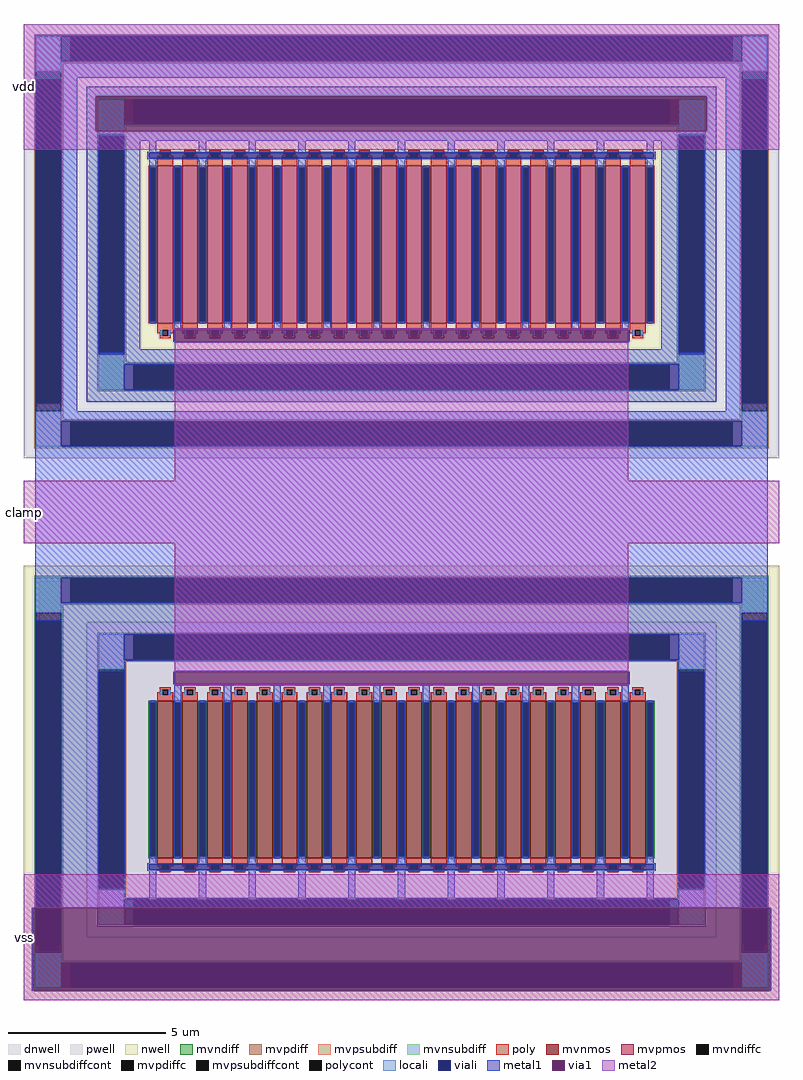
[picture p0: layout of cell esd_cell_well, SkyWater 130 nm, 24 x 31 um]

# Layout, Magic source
magic
tech sky130A
magscale 1 2
<< dnwell >>
rect -2300 -3300 2300 -740
<< nwell >>
rect -2000 400 2000 2400
rect -2400 -1000 2400 -640
rect -2400 -3000 -2000 -1000
rect 2000 -3000 2400 -1000
rect -2400 -3400 2400 -3000
<< pwell >>
rect -2400 2400 2400 2800
rect -2400 400 -2000 2400
rect 2000 400 2400 2400
rect -2400 40 2400 400
rect -2000 -3000 2000 -1000
<< mvnmos >>
rect -1551 -2500 -1451 -1500
rect -1393 -2500 -1293 -1500
rect -1235 -2500 -1135 -1500
rect -1077 -2500 -977 -1500
rect -919 -2500 -819 -1500
rect -761 -2500 -661 -1500
rect -603 -2500 -503 -1500
rect -445 -2500 -345 -1500
rect -287 -2500 -187 -1500
rect -129 -2500 -29 -1500
rect 29 -2500 129 -1500
rect 187 -2500 287 -1500
rect 345 -2500 445 -1500
rect 503 -2500 603 -1500
rect 661 -2500 761 -1500
rect 819 -2500 919 -1500
rect 977 -2500 1077 -1500
rect 1135 -2500 1235 -1500
rect 1293 -2500 1393 -1500
rect 1451 -2500 1551 -1500
<< mvpmos >>
rect -1551 900 -1451 1900
rect -1393 900 -1293 1900
rect -1235 900 -1135 1900
rect -1077 900 -977 1900
rect -919 900 -819 1900
rect -761 900 -661 1900
rect -603 900 -503 1900
rect -445 900 -345 1900
rect -287 900 -187 1900
rect -129 900 -29 1900
rect 29 900 129 1900
rect 187 900 287 1900
rect 345 900 445 1900
rect 503 900 603 1900
rect 661 900 761 1900
rect 819 900 919 1900
rect 977 900 1077 1900
rect 1135 900 1235 1900
rect 1293 900 1393 1900
rect 1451 900 1551 1900
<< mvndiff >>
rect -1609 -1512 -1551 -1500
rect -1609 -2488 -1597 -1512
rect -1563 -2488 -1551 -1512
rect -1609 -2500 -1551 -2488
rect -1451 -1512 -1393 -1500
rect -1451 -2488 -1439 -1512
rect -1405 -2488 -1393 -1512
rect -1451 -2500 -1393 -2488
rect -1293 -1512 -1235 -1500
rect -1293 -2488 -1281 -1512
rect -1247 -2488 -1235 -1512
rect -1293 -2500 -1235 -2488
rect -1135 -1512 -1077 -1500
rect -1135 -2488 -1123 -1512
rect -1089 -2488 -1077 -1512
rect -1135 -2500 -1077 -2488
rect -977 -1512 -919 -1500
rect -977 -2488 -965 -1512
rect -931 -2488 -919 -1512
rect -977 -2500 -919 -2488
rect -819 -1512 -761 -1500
rect -819 -2488 -807 -1512
rect -773 -2488 -761 -1512
rect -819 -2500 -761 -2488
rect -661 -1512 -603 -1500
rect -661 -2488 -649 -1512
rect -615 -2488 -603 -1512
rect -661 -2500 -603 -2488
rect -503 -1512 -445 -1500
rect -503 -2488 -491 -1512
rect -457 -2488 -445 -1512
rect -503 -2500 -445 -2488
rect -345 -1512 -287 -1500
rect -345 -2488 -333 -1512
rect -299 -2488 -287 -1512
rect -345 -2500 -287 -2488
rect -187 -1512 -129 -1500
rect -187 -2488 -175 -1512
rect -141 -2488 -129 -1512
rect -187 -2500 -129 -2488
rect -29 -1512 29 -1500
rect -29 -2488 -17 -1512
rect 17 -2488 29 -1512
rect -29 -2500 29 -2488
rect 129 -1512 187 -1500
rect 129 -2488 141 -1512
rect 175 -2488 187 -1512
rect 129 -2500 187 -2488
rect 287 -1512 345 -1500
rect 287 -2488 299 -1512
rect 333 -2488 345 -1512
rect 287 -2500 345 -2488
rect 445 -1512 503 -1500
rect 445 -2488 457 -1512
rect 491 -2488 503 -1512
rect 445 -2500 503 -2488
rect 603 -1512 661 -1500
rect 603 -2488 615 -1512
rect 649 -2488 661 -1512
rect 603 -2500 661 -2488
rect 761 -1512 819 -1500
rect 761 -2488 773 -1512
rect 807 -2488 819 -1512
rect 761 -2500 819 -2488
rect 919 -1512 977 -1500
rect 919 -2488 931 -1512
rect 965 -2488 977 -1512
rect 919 -2500 977 -2488
rect 1077 -1512 1135 -1500
rect 1077 -2488 1089 -1512
rect 1123 -2488 1135 -1512
rect 1077 -2500 1135 -2488
rect 1235 -1512 1293 -1500
rect 1235 -2488 1247 -1512
rect 1281 -2488 1293 -1512
rect 1235 -2500 1293 -2488
rect 1393 -1512 1451 -1500
rect 1393 -2488 1405 -1512
rect 1439 -2488 1451 -1512
rect 1393 -2500 1451 -2488
rect 1551 -1512 1609 -1500
rect 1551 -2488 1563 -1512
rect 1597 -2488 1609 -1512
rect 1551 -2500 1609 -2488
<< mvpdiff >>
rect -1609 1888 -1551 1900
rect -1609 912 -1597 1888
rect -1563 912 -1551 1888
rect -1609 900 -1551 912
rect -1451 1888 -1393 1900
rect -1451 912 -1439 1888
rect -1405 912 -1393 1888
rect -1451 900 -1393 912
rect -1293 1888 -1235 1900
rect -1293 912 -1281 1888
rect -1247 912 -1235 1888
rect -1293 900 -1235 912
rect -1135 1888 -1077 1900
rect -1135 912 -1123 1888
rect -1089 912 -1077 1888
rect -1135 900 -1077 912
rect -977 1888 -919 1900
rect -977 912 -965 1888
rect -931 912 -919 1888
rect -977 900 -919 912
rect -819 1888 -761 1900
rect -819 912 -807 1888
rect -773 912 -761 1888
rect -819 900 -761 912
rect -661 1888 -603 1900
rect -661 912 -649 1888
rect -615 912 -603 1888
rect -661 900 -603 912
rect -503 1888 -445 1900
rect -503 912 -491 1888
rect -457 912 -445 1888
rect -503 900 -445 912
rect -345 1888 -287 1900
rect -345 912 -333 1888
rect -299 912 -287 1888
rect -345 900 -287 912
rect -187 1888 -129 1900
rect -187 912 -175 1888
rect -141 912 -129 1888
rect -187 900 -129 912
rect -29 1888 29 1900
rect -29 912 -17 1888
rect 17 912 29 1888
rect -29 900 29 912
rect 129 1888 187 1900
rect 129 912 141 1888
rect 175 912 187 1888
rect 129 900 187 912
rect 287 1888 345 1900
rect 287 912 299 1888
rect 333 912 345 1888
rect 287 900 345 912
rect 445 1888 503 1900
rect 445 912 457 1888
rect 491 912 503 1888
rect 445 900 503 912
rect 603 1888 661 1900
rect 603 912 615 1888
rect 649 912 661 1888
rect 603 900 661 912
rect 761 1888 819 1900
rect 761 912 773 1888
rect 807 912 819 1888
rect 761 900 819 912
rect 919 1888 977 1900
rect 919 912 931 1888
rect 965 912 977 1888
rect 919 900 977 912
rect 1077 1888 1135 1900
rect 1077 912 1089 1888
rect 1123 912 1135 1888
rect 1077 900 1135 912
rect 1235 1888 1293 1900
rect 1235 912 1247 1888
rect 1281 912 1293 1888
rect 1235 900 1293 912
rect 1393 1888 1451 1900
rect 1393 912 1405 1888
rect 1439 912 1451 1888
rect 1393 900 1451 912
rect 1551 1888 1609 1900
rect 1551 912 1563 1888
rect 1597 912 1609 1888
rect 1551 900 1609 912
<< mvndiffc >>
rect -1597 -2488 -1563 -1512
rect -1439 -2488 -1405 -1512
rect -1281 -2488 -1247 -1512
rect -1123 -2488 -1089 -1512
rect -965 -2488 -931 -1512
rect -807 -2488 -773 -1512
rect -649 -2488 -615 -1512
rect -491 -2488 -457 -1512
rect -333 -2488 -299 -1512
rect -175 -2488 -141 -1512
rect -17 -2488 17 -1512
rect 141 -2488 175 -1512
rect 299 -2488 333 -1512
rect 457 -2488 491 -1512
rect 615 -2488 649 -1512
rect 773 -2488 807 -1512
rect 931 -2488 965 -1512
rect 1089 -2488 1123 -1512
rect 1247 -2488 1281 -1512
rect 1405 -2488 1439 -1512
rect 1563 -2488 1597 -1512
<< mvpdiffc >>
rect -1597 912 -1563 1888
rect -1439 912 -1405 1888
rect -1281 912 -1247 1888
rect -1123 912 -1089 1888
rect -965 912 -931 1888
rect -807 912 -773 1888
rect -649 912 -615 1888
rect -491 912 -457 1888
rect -333 912 -299 1888
rect -175 912 -141 1888
rect -17 912 17 1888
rect 141 912 175 1888
rect 299 912 333 1888
rect 457 912 491 1888
rect 615 912 649 1888
rect 773 912 807 1888
rect 931 912 965 1888
rect 1089 912 1123 1888
rect 1247 912 1281 1888
rect 1405 912 1439 1888
rect 1563 912 1597 1888
<< mvpsubdiff >>
rect -2334 2722 2334 2734
rect -2334 2562 -2100 2722
rect 2100 2562 2334 2722
rect -2334 2550 2334 2562
rect -2334 2500 -2150 2550
rect -2334 340 -2322 2500
rect -2162 340 -2150 2500
rect 2150 2500 2334 2550
rect -2334 290 -2150 340
rect 2150 340 2162 2500
rect 2322 340 2334 2500
rect 2150 290 2334 340
rect -2334 278 2334 290
rect -2334 118 -2100 278
rect 2100 118 2334 278
rect -2334 106 2334 118
rect -1934 -1078 1934 -1066
rect -1934 -1238 -1700 -1078
rect 1700 -1238 1934 -1078
rect -1934 -1250 1934 -1238
rect -1934 -1300 -1750 -1250
rect -1934 -2700 -1922 -1300
rect -1762 -2700 -1750 -1300
rect 1750 -1300 1934 -1250
rect -1934 -2750 -1750 -2700
rect 1750 -2700 1762 -1300
rect 1922 -2700 1934 -1300
rect 1750 -2750 1934 -2700
rect -1934 -2762 1934 -2750
rect -1934 -2922 -1700 -2762
rect 1700 -2922 1934 -2762
rect -1934 -2934 1934 -2922
<< mvnsubdiff >>
rect -1934 2322 1934 2334
rect -1934 2162 -1700 2322
rect 1700 2162 1934 2322
rect -1934 2150 1934 2162
rect -1934 2100 -1750 2150
rect -1934 700 -1922 2100
rect -1762 700 -1750 2100
rect 1750 2100 1934 2150
rect -1934 650 -1750 700
rect 1750 700 1762 2100
rect 1922 700 1934 2100
rect 1750 650 1934 700
rect -1934 638 1934 650
rect -1934 478 -1700 638
rect 1700 478 1934 638
rect -1934 466 1934 478
rect -2334 -718 2334 -706
rect -2334 -878 -2100 -718
rect 2100 -878 2334 -718
rect -2334 -890 2334 -878
rect -2334 -940 -2150 -890
rect -2334 -3100 -2322 -940
rect -2162 -3100 -2150 -940
rect 2150 -940 2334 -890
rect -2334 -3150 -2150 -3100
rect 2150 -3100 2162 -940
rect 2322 -3100 2334 -940
rect 2150 -3150 2334 -3100
rect -2334 -3162 2334 -3150
rect -2334 -3322 -2100 -3162
rect 2100 -3322 2334 -3162
rect -2334 -3334 2334 -3322
<< mvpsubdiffcont >>
rect -2100 2562 2100 2722
rect -2322 340 -2162 2500
rect 2162 340 2322 2500
rect -2100 118 2100 278
rect -1700 -1238 1700 -1078
rect -1922 -2700 -1762 -1300
rect 1762 -2700 1922 -1300
rect -1700 -2922 1700 -2762
<< mvnsubdiffcont >>
rect -1700 2162 1700 2322
rect -1922 700 -1762 2100
rect 1762 700 1922 2100
rect -1700 478 1700 638
rect -2100 -878 2100 -718
rect -2322 -3100 -2162 -940
rect 2162 -3100 2322 -940
rect -2100 -3322 2100 -3162
<< poly >>
rect -1537 1981 -1465 1997
rect -1537 1964 -1521 1981
rect -1551 1947 -1521 1964
rect -1481 1964 -1465 1981
rect -1379 1981 -1307 1997
rect -1379 1964 -1363 1981
rect -1481 1947 -1451 1964
rect -1551 1900 -1451 1947
rect -1393 1947 -1363 1964
rect -1323 1964 -1307 1981
rect -1221 1981 -1149 1997
rect -1221 1964 -1205 1981
rect -1323 1947 -1293 1964
rect -1393 1900 -1293 1947
rect -1235 1947 -1205 1964
rect -1165 1964 -1149 1981
rect -1063 1981 -991 1997
rect -1063 1964 -1047 1981
rect -1165 1947 -1135 1964
rect -1235 1900 -1135 1947
rect -1077 1947 -1047 1964
rect -1007 1964 -991 1981
rect -905 1981 -833 1997
rect -905 1964 -889 1981
rect -1007 1947 -977 1964
rect -1077 1900 -977 1947
rect -919 1947 -889 1964
rect -849 1964 -833 1981
rect -747 1981 -675 1997
rect -747 1964 -731 1981
rect -849 1947 -819 1964
rect -919 1900 -819 1947
rect -761 1947 -731 1964
rect -691 1964 -675 1981
rect -589 1981 -517 1997
rect -589 1964 -573 1981
rect -691 1947 -661 1964
rect -761 1900 -661 1947
rect -603 1947 -573 1964
rect -533 1964 -517 1981
rect -431 1981 -359 1997
rect -431 1964 -415 1981
rect -533 1947 -503 1964
rect -603 1900 -503 1947
rect -445 1947 -415 1964
rect -375 1964 -359 1981
rect -273 1981 -201 1997
rect -273 1964 -257 1981
rect -375 1947 -345 1964
rect -445 1900 -345 1947
rect -287 1947 -257 1964
rect -217 1964 -201 1981
rect -115 1981 -43 1997
rect -115 1964 -99 1981
rect -217 1947 -187 1964
rect -287 1900 -187 1947
rect -129 1947 -99 1964
rect -59 1964 -43 1981
rect 43 1981 115 1997
rect 43 1964 59 1981
rect -59 1947 -29 1964
rect -129 1900 -29 1947
rect 29 1947 59 1964
rect 99 1964 115 1981
rect 201 1981 273 1997
rect 201 1964 217 1981
rect 99 1947 129 1964
rect 29 1900 129 1947
rect 187 1947 217 1964
rect 257 1964 273 1981
rect 359 1981 431 1997
rect 359 1964 375 1981
rect 257 1947 287 1964
rect 187 1900 287 1947
rect 345 1947 375 1964
rect 415 1964 431 1981
rect 517 1981 589 1997
rect 517 1964 533 1981
rect 415 1947 445 1964
rect 345 1900 445 1947
rect 503 1947 533 1964
rect 573 1964 589 1981
rect 675 1981 747 1997
rect 675 1964 691 1981
rect 573 1947 603 1964
rect 503 1900 603 1947
rect 661 1947 691 1964
rect 731 1964 747 1981
rect 833 1981 905 1997
rect 833 1964 849 1981
rect 731 1947 761 1964
rect 661 1900 761 1947
rect 819 1947 849 1964
rect 889 1964 905 1981
rect 991 1981 1063 1997
rect 991 1964 1007 1981
rect 889 1947 919 1964
rect 819 1900 919 1947
rect 977 1947 1007 1964
rect 1047 1964 1063 1981
rect 1149 1981 1221 1997
rect 1149 1964 1165 1981
rect 1047 1947 1077 1964
rect 977 1900 1077 1947
rect 1135 1947 1165 1964
rect 1205 1964 1221 1981
rect 1307 1981 1379 1997
rect 1307 1964 1323 1981
rect 1205 1947 1235 1964
rect 1135 1900 1235 1947
rect 1293 1947 1323 1964
rect 1363 1964 1379 1981
rect 1465 1981 1537 1997
rect 1465 1964 1481 1981
rect 1363 1947 1393 1964
rect 1293 1900 1393 1947
rect 1451 1947 1481 1964
rect 1521 1964 1537 1981
rect 1521 1947 1551 1964
rect 1451 1900 1551 1947
rect -1551 853 -1451 900
rect -1551 836 -1521 853
rect -1537 819 -1521 836
rect -1481 836 -1451 853
rect -1393 853 -1293 900
rect -1393 836 -1363 853
rect -1481 819 -1465 836
rect -1537 803 -1465 819
rect -1379 819 -1363 836
rect -1323 836 -1293 853
rect -1235 853 -1135 900
rect -1235 836 -1205 853
rect -1323 819 -1307 836
rect -1379 803 -1307 819
rect -1221 819 -1205 836
rect -1165 836 -1135 853
rect -1077 853 -977 900
rect -1077 836 -1047 853
rect -1165 819 -1149 836
rect -1221 803 -1149 819
rect -1063 819 -1047 836
rect -1007 836 -977 853
rect -919 853 -819 900
rect -919 836 -889 853
rect -1007 819 -991 836
rect -1063 803 -991 819
rect -905 819 -889 836
rect -849 836 -819 853
rect -761 853 -661 900
rect -761 836 -731 853
rect -849 819 -833 836
rect -905 803 -833 819
rect -747 819 -731 836
rect -691 836 -661 853
rect -603 853 -503 900
rect -603 836 -573 853
rect -691 819 -675 836
rect -747 803 -675 819
rect -589 819 -573 836
rect -533 836 -503 853
rect -445 853 -345 900
rect -445 836 -415 853
rect -533 819 -517 836
rect -589 803 -517 819
rect -431 819 -415 836
rect -375 836 -345 853
rect -287 853 -187 900
rect -287 836 -257 853
rect -375 819 -359 836
rect -431 803 -359 819
rect -273 819 -257 836
rect -217 836 -187 853
rect -129 853 -29 900
rect -129 836 -99 853
rect -217 819 -201 836
rect -273 803 -201 819
rect -115 819 -99 836
rect -59 836 -29 853
rect 29 853 129 900
rect 29 836 59 853
rect -59 819 -43 836
rect -115 803 -43 819
rect 43 819 59 836
rect 99 836 129 853
rect 187 853 287 900
rect 187 836 217 853
rect 99 819 115 836
rect 43 803 115 819
rect 201 819 217 836
rect 257 836 287 853
rect 345 853 445 900
rect 345 836 375 853
rect 257 819 273 836
rect 201 803 273 819
rect 359 819 375 836
rect 415 836 445 853
rect 503 853 603 900
rect 503 836 533 853
rect 415 819 431 836
rect 359 803 431 819
rect 517 819 533 836
rect 573 836 603 853
rect 661 853 761 900
rect 661 836 691 853
rect 573 819 589 836
rect 517 803 589 819
rect 675 819 691 836
rect 731 836 761 853
rect 819 853 919 900
rect 819 836 849 853
rect 731 819 747 836
rect 675 803 747 819
rect 833 819 849 836
rect 889 836 919 853
rect 977 853 1077 900
rect 977 836 1007 853
rect 889 819 905 836
rect 833 803 905 819
rect 991 819 1007 836
rect 1047 836 1077 853
rect 1135 853 1235 900
rect 1135 836 1165 853
rect 1047 819 1063 836
rect 991 803 1063 819
rect 1149 819 1165 836
rect 1205 836 1235 853
rect 1293 853 1393 900
rect 1293 836 1323 853
rect 1205 819 1221 836
rect 1149 803 1221 819
rect 1307 819 1323 836
rect 1363 836 1393 853
rect 1451 853 1551 900
rect 1451 836 1481 853
rect 1363 819 1379 836
rect 1307 803 1379 819
rect 1465 819 1481 836
rect 1521 836 1551 853
rect 1521 819 1537 836
rect 1465 803 1537 819
rect -1537 -1428 -1465 -1412
rect -1537 -1445 -1521 -1428
rect -1551 -1462 -1521 -1445
rect -1481 -1445 -1465 -1428
rect -1379 -1428 -1307 -1412
rect -1379 -1445 -1363 -1428
rect -1481 -1462 -1451 -1445
rect -1551 -1500 -1451 -1462
rect -1393 -1462 -1363 -1445
rect -1323 -1445 -1307 -1428
rect -1221 -1428 -1149 -1412
rect -1221 -1445 -1205 -1428
rect -1323 -1462 -1293 -1445
rect -1393 -1500 -1293 -1462
rect -1235 -1462 -1205 -1445
rect -1165 -1445 -1149 -1428
rect -1063 -1428 -991 -1412
rect -1063 -1445 -1047 -1428
rect -1165 -1462 -1135 -1445
rect -1235 -1500 -1135 -1462
rect -1077 -1462 -1047 -1445
rect -1007 -1445 -991 -1428
rect -905 -1428 -833 -1412
rect -905 -1445 -889 -1428
rect -1007 -1462 -977 -1445
rect -1077 -1500 -977 -1462
rect -919 -1462 -889 -1445
rect -849 -1445 -833 -1428
rect -747 -1428 -675 -1412
rect -747 -1445 -731 -1428
rect -849 -1462 -819 -1445
rect -919 -1500 -819 -1462
rect -761 -1462 -731 -1445
rect -691 -1445 -675 -1428
rect -589 -1428 -517 -1412
rect -589 -1445 -573 -1428
rect -691 -1462 -661 -1445
rect -761 -1500 -661 -1462
rect -603 -1462 -573 -1445
rect -533 -1445 -517 -1428
rect -431 -1428 -359 -1412
rect -431 -1445 -415 -1428
rect -533 -1462 -503 -1445
rect -603 -1500 -503 -1462
rect -445 -1462 -415 -1445
rect -375 -1445 -359 -1428
rect -273 -1428 -201 -1412
rect -273 -1445 -257 -1428
rect -375 -1462 -345 -1445
rect -445 -1500 -345 -1462
rect -287 -1462 -257 -1445
rect -217 -1445 -201 -1428
rect -115 -1428 -43 -1412
rect -115 -1445 -99 -1428
rect -217 -1462 -187 -1445
rect -287 -1500 -187 -1462
rect -129 -1462 -99 -1445
rect -59 -1445 -43 -1428
rect 43 -1428 115 -1412
rect 43 -1445 59 -1428
rect -59 -1462 -29 -1445
rect -129 -1500 -29 -1462
rect 29 -1462 59 -1445
rect 99 -1445 115 -1428
rect 201 -1428 273 -1412
rect 201 -1445 217 -1428
rect 99 -1462 129 -1445
rect 29 -1500 129 -1462
rect 187 -1462 217 -1445
rect 257 -1445 273 -1428
rect 359 -1428 431 -1412
rect 359 -1445 375 -1428
rect 257 -1462 287 -1445
rect 187 -1500 287 -1462
rect 345 -1462 375 -1445
rect 415 -1445 431 -1428
rect 517 -1428 589 -1412
rect 517 -1445 533 -1428
rect 415 -1462 445 -1445
rect 345 -1500 445 -1462
rect 503 -1462 533 -1445
rect 573 -1445 589 -1428
rect 675 -1428 747 -1412
rect 675 -1445 691 -1428
rect 573 -1462 603 -1445
rect 503 -1500 603 -1462
rect 661 -1462 691 -1445
rect 731 -1445 747 -1428
rect 833 -1428 905 -1412
rect 833 -1445 849 -1428
rect 731 -1462 761 -1445
rect 661 -1500 761 -1462
rect 819 -1462 849 -1445
rect 889 -1445 905 -1428
rect 991 -1428 1063 -1412
rect 991 -1445 1007 -1428
rect 889 -1462 919 -1445
rect 819 -1500 919 -1462
rect 977 -1462 1007 -1445
rect 1047 -1445 1063 -1428
rect 1149 -1428 1221 -1412
rect 1149 -1445 1165 -1428
rect 1047 -1462 1077 -1445
rect 977 -1500 1077 -1462
rect 1135 -1462 1165 -1445
rect 1205 -1445 1221 -1428
rect 1307 -1428 1379 -1412
rect 1307 -1445 1323 -1428
rect 1205 -1462 1235 -1445
rect 1135 -1500 1235 -1462
rect 1293 -1462 1323 -1445
rect 1363 -1445 1379 -1428
rect 1465 -1428 1537 -1412
rect 1465 -1445 1481 -1428
rect 1363 -1462 1393 -1445
rect 1293 -1500 1393 -1462
rect 1451 -1462 1481 -1445
rect 1521 -1445 1537 -1428
rect 1521 -1462 1551 -1445
rect 1451 -1500 1551 -1462
rect -1551 -2538 -1451 -2500
rect -1551 -2555 -1521 -2538
rect -1537 -2572 -1521 -2555
rect -1481 -2555 -1451 -2538
rect -1393 -2538 -1293 -2500
rect -1393 -2555 -1363 -2538
rect -1481 -2572 -1465 -2555
rect -1537 -2588 -1465 -2572
rect -1379 -2572 -1363 -2555
rect -1323 -2555 -1293 -2538
rect -1235 -2538 -1135 -2500
rect -1235 -2555 -1205 -2538
rect -1323 -2572 -1307 -2555
rect -1379 -2588 -1307 -2572
rect -1221 -2572 -1205 -2555
rect -1165 -2555 -1135 -2538
rect -1077 -2538 -977 -2500
rect -1077 -2555 -1047 -2538
rect -1165 -2572 -1149 -2555
rect -1221 -2588 -1149 -2572
rect -1063 -2572 -1047 -2555
rect -1007 -2555 -977 -2538
rect -919 -2538 -819 -2500
rect -919 -2555 -889 -2538
rect -1007 -2572 -991 -2555
rect -1063 -2588 -991 -2572
rect -905 -2572 -889 -2555
rect -849 -2555 -819 -2538
rect -761 -2538 -661 -2500
rect -761 -2555 -731 -2538
rect -849 -2572 -833 -2555
rect -905 -2588 -833 -2572
rect -747 -2572 -731 -2555
rect -691 -2555 -661 -2538
rect -603 -2538 -503 -2500
rect -603 -2555 -573 -2538
rect -691 -2572 -675 -2555
rect -747 -2588 -675 -2572
rect -589 -2572 -573 -2555
rect -533 -2555 -503 -2538
rect -445 -2538 -345 -2500
rect -445 -2555 -415 -2538
rect -533 -2572 -517 -2555
rect -589 -2588 -517 -2572
rect -431 -2572 -415 -2555
rect -375 -2555 -345 -2538
rect -287 -2538 -187 -2500
rect -287 -2555 -257 -2538
rect -375 -2572 -359 -2555
rect -431 -2588 -359 -2572
rect -273 -2572 -257 -2555
rect -217 -2555 -187 -2538
rect -129 -2538 -29 -2500
rect -129 -2555 -99 -2538
rect -217 -2572 -201 -2555
rect -273 -2588 -201 -2572
rect -115 -2572 -99 -2555
rect -59 -2555 -29 -2538
rect 29 -2538 129 -2500
rect 29 -2555 59 -2538
rect -59 -2572 -43 -2555
rect -115 -2588 -43 -2572
rect 43 -2572 59 -2555
rect 99 -2555 129 -2538
rect 187 -2538 287 -2500
rect 187 -2555 217 -2538
rect 99 -2572 115 -2555
rect 43 -2588 115 -2572
rect 201 -2572 217 -2555
rect 257 -2555 287 -2538
rect 345 -2538 445 -2500
rect 345 -2555 375 -2538
rect 257 -2572 273 -2555
rect 201 -2588 273 -2572
rect 359 -2572 375 -2555
rect 415 -2555 445 -2538
rect 503 -2538 603 -2500
rect 503 -2555 533 -2538
rect 415 -2572 431 -2555
rect 359 -2588 431 -2572
rect 517 -2572 533 -2555
rect 573 -2555 603 -2538
rect 661 -2538 761 -2500
rect 661 -2555 691 -2538
rect 573 -2572 589 -2555
rect 517 -2588 589 -2572
rect 675 -2572 691 -2555
rect 731 -2555 761 -2538
rect 819 -2538 919 -2500
rect 819 -2555 849 -2538
rect 731 -2572 747 -2555
rect 675 -2588 747 -2572
rect 833 -2572 849 -2555
rect 889 -2555 919 -2538
rect 977 -2538 1077 -2500
rect 977 -2555 1007 -2538
rect 889 -2572 905 -2555
rect 833 -2588 905 -2572
rect 991 -2572 1007 -2555
rect 1047 -2555 1077 -2538
rect 1135 -2538 1235 -2500
rect 1135 -2555 1165 -2538
rect 1047 -2572 1063 -2555
rect 991 -2588 1063 -2572
rect 1149 -2572 1165 -2555
rect 1205 -2555 1235 -2538
rect 1293 -2538 1393 -2500
rect 1293 -2555 1323 -2538
rect 1205 -2572 1221 -2555
rect 1149 -2588 1221 -2572
rect 1307 -2572 1323 -2555
rect 1363 -2555 1393 -2538
rect 1451 -2538 1551 -2500
rect 1451 -2555 1481 -2538
rect 1363 -2572 1379 -2555
rect 1307 -2588 1379 -2572
rect 1465 -2572 1481 -2555
rect 1521 -2555 1551 -2538
rect 1521 -2572 1537 -2555
rect 1465 -2588 1537 -2572
<< polycont >>
rect -1521 1947 -1481 1981
rect -1363 1947 -1323 1981
rect -1205 1947 -1165 1981
rect -1047 1947 -1007 1981
rect -889 1947 -849 1981
rect -731 1947 -691 1981
rect -573 1947 -533 1981
rect -415 1947 -375 1981
rect -257 1947 -217 1981
rect -99 1947 -59 1981
rect 59 1947 99 1981
rect 217 1947 257 1981
rect 375 1947 415 1981
rect 533 1947 573 1981
rect 691 1947 731 1981
rect 849 1947 889 1981
rect 1007 1947 1047 1981
rect 1165 1947 1205 1981
rect 1323 1947 1363 1981
rect 1481 1947 1521 1981
rect -1521 819 -1481 853
rect -1363 819 -1323 853
rect -1205 819 -1165 853
rect -1047 819 -1007 853
rect -889 819 -849 853
rect -731 819 -691 853
rect -573 819 -533 853
rect -415 819 -375 853
rect -257 819 -217 853
rect -99 819 -59 853
rect 59 819 99 853
rect 217 819 257 853
rect 375 819 415 853
rect 533 819 573 853
rect 691 819 731 853
rect 849 819 889 853
rect 1007 819 1047 853
rect 1165 819 1205 853
rect 1323 819 1363 853
rect 1481 819 1521 853
rect -1521 -1462 -1481 -1428
rect -1363 -1462 -1323 -1428
rect -1205 -1462 -1165 -1428
rect -1047 -1462 -1007 -1428
rect -889 -1462 -849 -1428
rect -731 -1462 -691 -1428
rect -573 -1462 -533 -1428
rect -415 -1462 -375 -1428
rect -257 -1462 -217 -1428
rect -99 -1462 -59 -1428
rect 59 -1462 99 -1428
rect 217 -1462 257 -1428
rect 375 -1462 415 -1428
rect 533 -1462 573 -1428
rect 691 -1462 731 -1428
rect 849 -1462 889 -1428
rect 1007 -1462 1047 -1428
rect 1165 -1462 1205 -1428
rect 1323 -1462 1363 -1428
rect 1481 -1462 1521 -1428
rect -1521 -2572 -1481 -2538
rect -1363 -2572 -1323 -2538
rect -1205 -2572 -1165 -2538
rect -1047 -2572 -1007 -2538
rect -889 -2572 -849 -2538
rect -731 -2572 -691 -2538
rect -573 -2572 -533 -2538
rect -415 -2572 -375 -2538
rect -257 -2572 -217 -2538
rect -99 -2572 -59 -2538
rect 59 -2572 99 -2538
rect 217 -2572 257 -2538
rect 375 -2572 415 -2538
rect 533 -2572 573 -2538
rect 691 -2572 731 -2538
rect 849 -2572 889 -2538
rect 1007 -2572 1047 -2538
rect 1165 -2572 1205 -2538
rect 1323 -2572 1363 -2538
rect 1481 -2572 1521 -2538
<< locali >>
rect -2322 2500 -2162 2722
rect 2162 2500 2322 2722
rect -1922 2100 -1762 2322
rect 1762 2100 1922 2322
rect -1597 1888 -1563 1904
rect -1597 896 -1563 912
rect -1439 1888 -1405 1904
rect -1439 896 -1405 912
rect -1281 1888 -1247 1904
rect -1281 896 -1247 912
rect -1123 1888 -1089 1904
rect -1123 896 -1089 912
rect -965 1888 -931 1904
rect -965 896 -931 912
rect -807 1888 -773 1904
rect -807 896 -773 912
rect -649 1888 -615 1904
rect -649 896 -615 912
rect -491 1888 -457 1904
rect -491 896 -457 912
rect -333 1888 -299 1904
rect -333 896 -299 912
rect -175 1888 -141 1904
rect -175 896 -141 912
rect -17 1888 17 1904
rect -17 896 17 912
rect 141 1888 175 1904
rect 141 896 175 912
rect 299 1888 333 1904
rect 299 896 333 912
rect 457 1888 491 1904
rect 457 896 491 912
rect 615 1888 649 1904
rect 615 896 649 912
rect 773 1888 807 1904
rect 773 896 807 912
rect 931 1888 965 1904
rect 931 896 965 912
rect 1089 1888 1123 1904
rect 1089 896 1123 912
rect 1247 1888 1281 1904
rect 1247 896 1281 912
rect 1405 1888 1439 1904
rect 1405 896 1439 912
rect 1563 1888 1597 1904
rect 1563 896 1597 912
rect -1537 819 -1521 853
rect -1481 819 -1465 853
rect -1379 819 -1363 853
rect -1323 819 -1307 853
rect -1221 819 -1205 853
rect -1165 819 -1149 853
rect -1063 819 -1047 853
rect -1007 819 -991 853
rect -905 819 -889 853
rect -849 819 -833 853
rect -747 819 -731 853
rect -691 819 -675 853
rect -589 819 -573 853
rect -533 819 -517 853
rect -431 819 -415 853
rect -375 819 -359 853
rect -273 819 -257 853
rect -217 819 -201 853
rect -115 819 -99 853
rect -59 819 -43 853
rect 43 819 59 853
rect 99 819 115 853
rect 201 819 217 853
rect 257 819 273 853
rect 359 819 375 853
rect 415 819 431 853
rect 517 819 533 853
rect 573 819 589 853
rect 675 819 691 853
rect 731 819 747 853
rect 833 819 849 853
rect 889 819 905 853
rect 991 819 1007 853
rect 1047 819 1063 853
rect 1149 819 1165 853
rect 1205 819 1221 853
rect 1307 819 1323 853
rect 1363 819 1379 853
rect 1465 819 1481 853
rect 1521 819 1537 853
rect -1922 478 -1762 700
rect 1762 478 1922 700
rect -2322 118 -2162 340
rect 2162 118 2322 340
rect -2322 -940 -2162 -718
rect 2162 -940 2322 -718
rect -1922 -1300 -1762 -1078
rect 1762 -1300 1922 -1078
rect -1537 -1462 -1521 -1428
rect -1481 -1462 -1465 -1428
rect -1379 -1462 -1363 -1428
rect -1323 -1462 -1307 -1428
rect -1221 -1462 -1205 -1428
rect -1165 -1462 -1149 -1428
rect -1063 -1462 -1047 -1428
rect -1007 -1462 -991 -1428
rect -905 -1462 -889 -1428
rect -849 -1462 -833 -1428
rect -747 -1462 -731 -1428
rect -691 -1462 -675 -1428
rect -589 -1462 -573 -1428
rect -533 -1462 -517 -1428
rect -431 -1462 -415 -1428
rect -375 -1462 -359 -1428
rect -273 -1462 -257 -1428
rect -217 -1462 -201 -1428
rect -115 -1462 -99 -1428
rect -59 -1462 -43 -1428
rect 43 -1462 59 -1428
rect 99 -1462 115 -1428
rect 201 -1462 217 -1428
rect 257 -1462 273 -1428
rect 359 -1462 375 -1428
rect 415 -1462 431 -1428
rect 517 -1462 533 -1428
rect 573 -1462 589 -1428
rect 675 -1462 691 -1428
rect 731 -1462 747 -1428
rect 833 -1462 849 -1428
rect 889 -1462 905 -1428
rect 991 -1462 1007 -1428
rect 1047 -1462 1063 -1428
rect 1149 -1462 1165 -1428
rect 1205 -1462 1221 -1428
rect 1307 -1462 1323 -1428
rect 1363 -1462 1379 -1428
rect 1465 -1462 1481 -1428
rect 1521 -1462 1537 -1428
rect -1597 -1512 -1563 -1496
rect -1597 -2504 -1563 -2488
rect -1439 -1512 -1405 -1496
rect -1439 -2504 -1405 -2488
rect -1281 -1512 -1247 -1496
rect -1281 -2504 -1247 -2488
rect -1123 -1512 -1089 -1496
rect -1123 -2504 -1089 -2488
rect -965 -1512 -931 -1496
rect -965 -2504 -931 -2488
rect -807 -1512 -773 -1496
rect -807 -2504 -773 -2488
rect -649 -1512 -615 -1496
rect -649 -2504 -615 -2488
rect -491 -1512 -457 -1496
rect -491 -2504 -457 -2488
rect -333 -1512 -299 -1496
rect -333 -2504 -299 -2488
rect -175 -1512 -141 -1496
rect -175 -2504 -141 -2488
rect -17 -1512 17 -1496
rect -17 -2504 17 -2488
rect 141 -1512 175 -1496
rect 141 -2504 175 -2488
rect 299 -1512 333 -1496
rect 299 -2504 333 -2488
rect 457 -1512 491 -1496
rect 457 -2504 491 -2488
rect 615 -1512 649 -1496
rect 615 -2504 649 -2488
rect 773 -1512 807 -1496
rect 773 -2504 807 -2488
rect 931 -1512 965 -1496
rect 931 -2504 965 -2488
rect 1089 -1512 1123 -1496
rect 1089 -2504 1123 -2488
rect 1247 -1512 1281 -1496
rect 1247 -2504 1281 -2488
rect 1405 -1512 1439 -1496
rect 1405 -2504 1439 -2488
rect 1563 -1512 1597 -1496
rect 1563 -2504 1597 -2488
rect -1922 -2922 -1762 -2700
rect 1762 -2922 1922 -2700
rect -2322 -3322 -2162 -3100
rect 2162 -3322 2322 -3100
<< viali >>
rect -2162 2562 -2100 2722
rect -2100 2562 2100 2722
rect 2100 2562 2162 2722
rect -2322 392 -2162 2448
rect -1762 2162 -1700 2322
rect -1700 2162 1700 2322
rect 1700 2162 1762 2322
rect -1922 714 -1762 2086
rect -1603 1947 -1521 1981
rect -1521 1947 -1481 1981
rect -1481 1947 -1363 1981
rect -1363 1947 -1323 1981
rect -1323 1947 -1205 1981
rect -1205 1947 -1165 1981
rect -1165 1947 -1047 1981
rect -1047 1947 -1007 1981
rect -1007 1947 -889 1981
rect -889 1947 -849 1981
rect -849 1947 -731 1981
rect -731 1947 -691 1981
rect -691 1947 -573 1981
rect -573 1947 -533 1981
rect -533 1947 -415 1981
rect -415 1947 -375 1981
rect -375 1947 -257 1981
rect -257 1947 -217 1981
rect -217 1947 -99 1981
rect -99 1947 -59 1981
rect -59 1947 59 1981
rect 59 1947 99 1981
rect 99 1947 217 1981
rect 217 1947 257 1981
rect 257 1947 375 1981
rect 375 1947 415 1981
rect 415 1947 533 1981
rect 533 1947 573 1981
rect 573 1947 691 1981
rect 691 1947 731 1981
rect 731 1947 849 1981
rect 849 1947 889 1981
rect 889 1947 1007 1981
rect 1007 1947 1047 1981
rect 1047 1947 1165 1981
rect 1165 1947 1205 1981
rect 1205 1947 1323 1981
rect 1323 1947 1363 1981
rect 1363 1947 1481 1981
rect 1481 1947 1521 1981
rect 1521 1947 1603 1981
rect -1597 912 -1563 1888
rect -1439 912 -1405 1888
rect -1281 912 -1247 1888
rect -1123 912 -1089 1888
rect -965 912 -931 1888
rect -807 912 -773 1888
rect -649 912 -615 1888
rect -491 912 -457 1888
rect -333 912 -299 1888
rect -175 912 -141 1888
rect -17 912 17 1888
rect 141 912 175 1888
rect 299 912 333 1888
rect 457 912 491 1888
rect 615 912 649 1888
rect 773 912 807 1888
rect 931 912 965 1888
rect 1089 912 1123 1888
rect 1247 912 1281 1888
rect 1405 912 1439 1888
rect 1563 912 1597 1888
rect 1762 714 1922 2086
rect -1762 478 -1700 638
rect -1700 478 1700 638
rect 1700 478 1762 638
rect 2162 392 2322 2448
rect -2162 118 -2100 278
rect -2100 118 2100 278
rect 2100 118 2162 278
rect -2162 -878 -2100 -718
rect -2100 -878 2100 -718
rect 2100 -878 2162 -718
rect -2322 -3048 -2162 -992
rect -1762 -1238 -1700 -1078
rect -1700 -1238 1700 -1078
rect 1700 -1238 1762 -1078
rect -1922 -2686 -1762 -1314
rect -1597 -2488 -1563 -1512
rect -1439 -2488 -1405 -1512
rect -1281 -2488 -1247 -1512
rect -1123 -2488 -1089 -1512
rect -965 -2488 -931 -1512
rect -807 -2488 -773 -1512
rect -649 -2488 -615 -1512
rect -491 -2488 -457 -1512
rect -333 -2488 -299 -1512
rect -175 -2488 -141 -1512
rect -17 -2488 17 -1512
rect 141 -2488 175 -1512
rect 299 -2488 333 -1512
rect 457 -2488 491 -1512
rect 615 -2488 649 -1512
rect 773 -2488 807 -1512
rect 931 -2488 965 -1512
rect 1089 -2488 1123 -1512
rect 1247 -2488 1281 -1512
rect 1405 -2488 1439 -1512
rect 1563 -2488 1597 -1512
rect -1603 -2572 -1521 -2538
rect -1521 -2572 -1481 -2538
rect -1481 -2572 -1363 -2538
rect -1363 -2572 -1323 -2538
rect -1323 -2572 -1205 -2538
rect -1205 -2572 -1165 -2538
rect -1165 -2572 -1047 -2538
rect -1047 -2572 -1007 -2538
rect -1007 -2572 -889 -2538
rect -889 -2572 -849 -2538
rect -849 -2572 -731 -2538
rect -731 -2572 -691 -2538
rect -691 -2572 -573 -2538
rect -573 -2572 -533 -2538
rect -533 -2572 -415 -2538
rect -415 -2572 -375 -2538
rect -375 -2572 -257 -2538
rect -257 -2572 -217 -2538
rect -217 -2572 -99 -2538
rect -99 -2572 -59 -2538
rect -59 -2572 59 -2538
rect 59 -2572 99 -2538
rect 99 -2572 217 -2538
rect 217 -2572 257 -2538
rect 257 -2572 375 -2538
rect 375 -2572 415 -2538
rect 415 -2572 533 -2538
rect 533 -2572 573 -2538
rect 573 -2572 691 -2538
rect 691 -2572 731 -2538
rect 731 -2572 849 -2538
rect 849 -2572 889 -2538
rect 889 -2572 1007 -2538
rect 1007 -2572 1047 -2538
rect 1047 -2572 1165 -2538
rect 1165 -2572 1205 -2538
rect 1205 -2572 1323 -2538
rect 1323 -2572 1363 -2538
rect 1363 -2572 1481 -2538
rect 1481 -2572 1521 -2538
rect 1521 -2572 1603 -2538
rect 1762 -2686 1922 -1314
rect -1762 -2922 -1700 -2762
rect -1700 -2922 1700 -2762
rect 1700 -2922 1762 -2762
rect 2162 -3048 2322 -992
rect -2162 -3322 -2100 -3162
rect -2100 -3322 2100 -3162
rect 2100 -3322 2162 -3162
<< metal1 >>
rect -2328 2722 2328 2728
rect -2328 2562 -2162 2722
rect 2162 2562 2328 2722
rect -2328 2460 2328 2562
rect -2328 2448 -2060 2460
rect -2328 392 -2322 2448
rect -2162 392 -2060 2448
rect 2060 2448 2328 2460
rect -2001 2340 2000 2400
rect -2001 2119 -1941 2340
rect 1940 2119 2000 2340
rect -2001 2086 2000 2119
rect -2001 2059 -1922 2086
rect -2000 714 -1922 2059
rect -1762 2059 1762 2086
rect -1762 734 -1660 2059
rect -1603 1987 -1557 2059
rect -1287 1987 -1241 2059
rect -971 1987 -925 2059
rect -655 1987 -609 2059
rect -339 1987 -293 2059
rect -23 1987 23 2059
rect 293 1987 339 2059
rect 609 1987 655 2059
rect 925 1987 971 2059
rect 1241 1987 1287 2059
rect 1557 1987 1603 2059
rect -1615 1981 1615 1987
rect -1615 1947 -1603 1981
rect 1603 1947 1615 1981
rect -1615 1941 1615 1947
rect -1603 1888 -1557 1941
rect -1603 912 -1597 1888
rect -1563 912 -1557 1888
rect -1603 900 -1557 912
rect -1445 1888 -1399 1900
rect -1445 912 -1439 1888
rect -1405 912 -1399 1888
rect -1445 864 -1399 912
rect -1287 1888 -1241 1941
rect -1287 912 -1281 1888
rect -1247 912 -1241 1888
rect -1287 900 -1241 912
rect -1129 1888 -1083 1900
rect -1129 912 -1123 1888
rect -1089 912 -1083 1888
rect -1129 864 -1083 912
rect -971 1888 -925 1941
rect -971 912 -965 1888
rect -931 912 -925 1888
rect -971 900 -925 912
rect -813 1888 -767 1900
rect -813 912 -807 1888
rect -773 912 -767 1888
rect -813 864 -767 912
rect -655 1888 -609 1941
rect -655 912 -649 1888
rect -615 912 -609 1888
rect -655 900 -609 912
rect -497 1888 -451 1900
rect -497 912 -491 1888
rect -457 912 -451 1888
rect -497 864 -451 912
rect -339 1888 -293 1941
rect -339 912 -333 1888
rect -299 912 -293 1888
rect -339 900 -293 912
rect -181 1888 -135 1900
rect -181 912 -175 1888
rect -141 912 -135 1888
rect -181 864 -135 912
rect -23 1888 23 1941
rect -23 912 -17 1888
rect 17 912 23 1888
rect -23 900 23 912
rect 135 1888 181 1900
rect 135 912 141 1888
rect 175 912 181 1888
rect 135 864 181 912
rect 293 1888 339 1941
rect 293 912 299 1888
rect 333 912 339 1888
rect 293 900 339 912
rect 451 1888 497 1900
rect 451 912 457 1888
rect 491 912 497 1888
rect 451 864 497 912
rect 609 1888 655 1941
rect 609 912 615 1888
rect 649 912 655 1888
rect 609 900 655 912
rect 767 1888 813 1900
rect 767 912 773 1888
rect 807 912 813 1888
rect 767 864 813 912
rect 925 1888 971 1941
rect 925 912 931 1888
rect 965 912 971 1888
rect 925 900 971 912
rect 1083 1888 1129 1900
rect 1083 912 1089 1888
rect 1123 912 1129 1888
rect 1083 864 1129 912
rect 1241 1888 1287 1941
rect 1241 912 1247 1888
rect 1281 912 1287 1888
rect 1241 900 1287 912
rect 1399 1888 1445 1900
rect 1399 912 1405 1888
rect 1439 912 1445 1888
rect 1399 864 1445 912
rect 1557 1888 1603 1941
rect 1557 912 1563 1888
rect 1597 912 1603 1888
rect 1557 900 1603 912
rect -1445 858 1445 864
rect -1449 780 -1439 858
rect 1439 780 1449 858
rect -1445 774 1445 780
rect 1650 734 1762 2059
rect -1762 714 1762 734
rect 1922 714 2000 2086
rect -2000 638 2000 714
rect -2000 478 -1762 638
rect 1762 478 2000 638
rect -2000 400 2000 478
rect -2328 340 -2060 392
rect 2060 392 2162 2448
rect 2322 392 2328 2448
rect 2060 340 2328 392
rect -2328 278 2328 340
rect -2328 118 -2162 278
rect 2162 118 2328 278
rect -2328 -718 2328 118
rect -2328 -878 -2162 -718
rect 2162 -878 2328 -718
rect -2328 -992 2328 -878
rect -2328 -2814 -2322 -992
rect -2162 -1078 2162 -992
rect -2162 -1238 -1762 -1078
rect 1762 -1238 2162 -1078
rect -2162 -1244 2162 -1238
rect -2162 -1314 -1756 -1244
rect -2162 -2686 -1922 -1314
rect -1762 -2686 -1756 -1314
rect -1445 -1316 1445 -1310
rect 1756 -1314 2162 -1244
rect -1449 -1394 -1439 -1316
rect 1439 -1394 1449 -1316
rect -1445 -1400 1445 -1394
rect -1603 -1512 -1557 -1500
rect -1603 -2488 -1597 -1512
rect -1563 -2488 -1557 -1512
rect -1603 -2532 -1557 -2488
rect -1445 -1512 -1399 -1400
rect -1445 -2488 -1439 -1512
rect -1405 -2488 -1399 -1512
rect -1445 -2500 -1399 -2488
rect -1287 -1512 -1241 -1500
rect -1287 -2488 -1281 -1512
rect -1247 -2488 -1241 -1512
rect -1287 -2532 -1241 -2488
rect -1129 -1512 -1083 -1400
rect -1129 -2488 -1123 -1512
rect -1089 -2488 -1083 -1512
rect -1129 -2500 -1083 -2488
rect -971 -1512 -925 -1500
rect -971 -2488 -965 -1512
rect -931 -2488 -925 -1512
rect -971 -2532 -925 -2488
rect -813 -1512 -767 -1400
rect -813 -2488 -807 -1512
rect -773 -2488 -767 -1512
rect -813 -2500 -767 -2488
rect -655 -1512 -609 -1500
rect -655 -2488 -649 -1512
rect -615 -2488 -609 -1512
rect -655 -2532 -609 -2488
rect -497 -1512 -451 -1400
rect -497 -2488 -491 -1512
rect -457 -2488 -451 -1512
rect -497 -2500 -451 -2488
rect -339 -1512 -293 -1500
rect -339 -2488 -333 -1512
rect -299 -2488 -293 -1512
rect -339 -2532 -293 -2488
rect -181 -1512 -135 -1400
rect -181 -2488 -175 -1512
rect -141 -2488 -135 -1512
rect -181 -2500 -135 -2488
rect -23 -1512 23 -1500
rect -23 -2488 -17 -1512
rect 17 -2488 23 -1512
rect -23 -2532 23 -2488
rect 135 -1512 181 -1400
rect 135 -2488 141 -1512
rect 175 -2488 181 -1512
rect 135 -2500 181 -2488
rect 293 -1512 339 -1500
rect 293 -2488 299 -1512
rect 333 -2488 339 -1512
rect 293 -2532 339 -2488
rect 451 -1512 497 -1400
rect 451 -2488 457 -1512
rect 491 -2488 497 -1512
rect 451 -2500 497 -2488
rect 609 -1512 655 -1500
rect 609 -2488 615 -1512
rect 649 -2488 655 -1512
rect 609 -2532 655 -2488
rect 767 -1512 813 -1400
rect 767 -2488 773 -1512
rect 807 -2488 813 -1512
rect 767 -2500 813 -2488
rect 925 -1512 971 -1500
rect 925 -2488 931 -1512
rect 965 -2488 971 -1512
rect 925 -2532 971 -2488
rect 1083 -1512 1129 -1400
rect 1083 -2488 1089 -1512
rect 1123 -2488 1129 -1512
rect 1083 -2500 1129 -2488
rect 1241 -1512 1287 -1500
rect 1241 -2488 1247 -1512
rect 1281 -2488 1287 -1512
rect 1241 -2532 1287 -2488
rect 1399 -1512 1445 -1400
rect 1399 -2488 1405 -1512
rect 1439 -2488 1445 -1512
rect 1399 -2500 1445 -2488
rect 1557 -1512 1603 -1500
rect 1557 -2488 1563 -1512
rect 1597 -2488 1603 -1512
rect 1557 -2532 1603 -2488
rect -1615 -2538 1615 -2532
rect -1615 -2572 -1603 -2538
rect 1603 -2572 1615 -2538
rect -1615 -2578 1615 -2572
rect -2162 -2755 -1756 -2686
rect -1603 -2755 -1557 -2578
rect -1287 -2755 -1241 -2578
rect -971 -2755 -925 -2578
rect -655 -2755 -609 -2578
rect -339 -2755 -293 -2578
rect -23 -2755 23 -2578
rect 293 -2755 339 -2578
rect 609 -2755 655 -2578
rect 925 -2755 971 -2578
rect 1241 -2755 1287 -2578
rect 1557 -2755 1603 -2578
rect 1756 -2686 1762 -1314
rect 1922 -2686 2162 -1314
rect 1756 -2755 2162 -2686
rect -2162 -2762 2162 -2755
rect -2162 -2814 -1762 -2762
rect 1762 -2814 2162 -2762
rect 2322 -2814 2328 -992
rect -2350 -3340 -2340 -2814
rect 2340 -3340 2350 -2814
<< via1 >>
rect -1941 2322 1940 2340
rect -1941 2162 -1762 2322
rect -1762 2162 1762 2322
rect 1762 2162 1940 2322
rect -1941 2119 1940 2162
rect -1439 780 1439 858
rect -1439 -1394 1439 -1316
rect -2340 -3048 -2322 -2814
rect -2322 -3048 -2162 -2814
rect -2162 -2922 -1762 -2814
rect -1762 -2922 1762 -2814
rect 1762 -2922 2162 -2814
rect -2162 -3048 2162 -2922
rect 2162 -3048 2322 -2814
rect 2322 -3048 2340 -2814
rect -2340 -3162 2340 -3048
rect -2340 -3322 -2162 -3162
rect -2162 -3322 2162 -3162
rect 2162 -3322 2340 -3162
rect -2340 -3340 2340 -3322
<< metal2 >>
rect -2400 2340 2400 2800
rect -2400 2119 -1941 2340
rect 1940 2119 2400 2340
rect -2400 2000 2400 2119
rect -1439 858 1439 868
rect -1439 -100 1439 780
rect -2400 -500 2400 -100
rect -1439 -1316 1439 -500
rect -1439 -1404 1439 -1394
rect -2400 -2814 2400 -2600
rect -2400 -3340 -2340 -2814
rect 2340 -3340 2400 -2814
rect -2400 -3400 2400 -3340
<< labels >>
flabel metal2 -2400 2000 -2395 2800 3 FreeSans 400 0 0 0 vdd
port 2 e
flabel metal2 -2400 -3400 -2395 -2600 3 FreeSans 400 0 0 0 vss
port 3 e
flabel metal2 -2400 -500 -2395 -100 3 FreeSans 400 0 0 0 clamp
port 1 e
<< end >>
